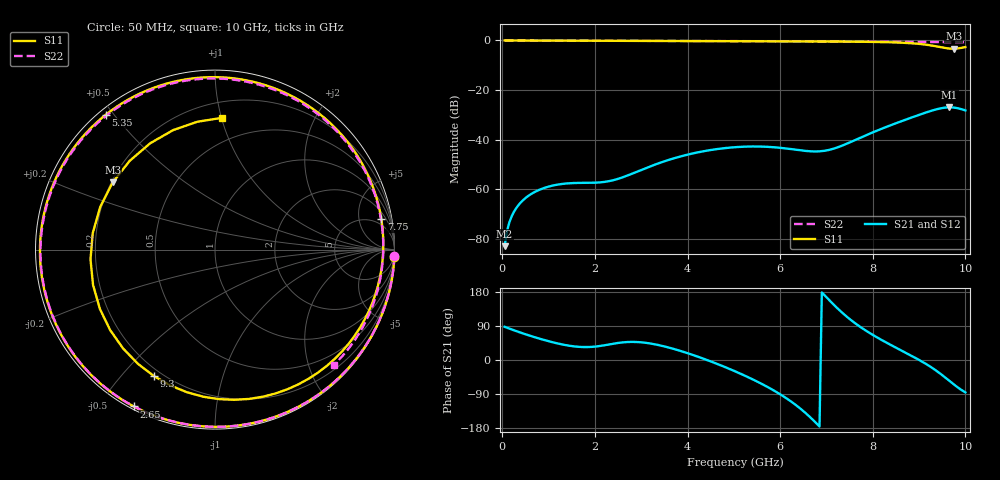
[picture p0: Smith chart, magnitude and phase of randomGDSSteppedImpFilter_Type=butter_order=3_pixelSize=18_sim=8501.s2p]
! freq	dB(S11)	phase(S11)	dB(S12)	phase(S12)
!  dB(S21)	phase(S21)	dB(S22)	phase(S22)
!S-par simulation data
#  GHz  S  DB  R 50
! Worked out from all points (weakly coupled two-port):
!   200 points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, 50 MHz to 10 GHz, reference 50 ohm
!   highest |S21| = -26.99 dB at 9.65 GHz (marker M1); lowest = -83.0 dB at 50 MHz (marker M2)
!   lowest |S11| = -3.3 dB at 9.75 GHz (marker M3), VSWR 5.29, Z = 10.3 + j14.4 ohm
!   |S11| at or under -10 dB: nowhere
!   |S22| runs from -0.7 to 0.0 dB; largest |S21 - S12| = 0
!   S11 on the Smith chart (normalised r, x): 50 MHz: 0, -49; 2.65 GHz: 0.01, -0.61; 5.35 GHz: 0.02, +0.48; 7.75 GHz: 3, +10; 9.3 GHz: 0.17, -0.61; 10 GHz: 0.31, +1.00
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0.05  -0.00 -2.3  -82.99 87.6  -82.99 87.6  -0.00 -2.0
0.25  -0.01 -11.7  -69.17 78.5  -69.17 78.5  -0.01 -10.2
0.55  -0.03 -25.6  -62.86 65.9  -62.86 65.9  -0.03 -22.2
1.05  -0.06 -48.4  -58.71 47.9  -58.71 47.9  -0.05 -42.0
1.75  -0.10 -79.3  -57.44 34.2  -57.44 34.2  -0.09 -68.9
2.65  -0.14 -117.4  -54.86 47.0  -54.86 47.0  -0.12 -102.2
3.4  -0.18 -148.2  -49.39 38.7  -49.39 38.7  -0.16 -129.0
4.25  -0.22 176.7  -45.03 7.6  -45.03 7.6  -0.21 -159.5
5.05  -0.27 142.5  -43.03 -31.1  -43.03 -31.1  -0.26 170.9
5.35  -0.29 129.1  -42.79 -47.8  -42.79 -47.8  -0.29 159.3
6.05  -0.34 96.7  -43.40 -94.3  -43.40 -94.3  -0.34 130.8
6.7  -0.38 65.0  -44.76 -157.1  -44.76 -157.1  -0.39 102.4
7.2  -0.43 39.7  -43.38 140.8  -43.38 140.8  -0.43 79.5
7.75  -0.52 10.4  -39.09 85.7  -39.09 85.7  -0.47 53.6
8.35  -0.72 -25.1  -34.46 42.3  -34.46 42.3  -0.51 25.4
8.95  -1.29 -72.1  -30.34 3.7  -30.34 3.7  -0.56 -1.5
9.3  -2.13 -115.8  -28.17 -22.2  -28.17 -22.2  -0.60 -16.4
9.5  -2.84 -152.8  -27.26 -40.0  -27.26 -40.0  -0.63 -24.6
9.65  -3.26 172.2  -26.99 -54.6  -26.99 -54.6  -0.65 -30.6
9.75  -3.33 146.7  -27.08 -64.4  -27.08 -64.4  -0.66 -34.6
9.9  -3.03 109.3  -27.64 -77.9  -27.64 -77.9  -0.68 -40.3
10  -2.68 87.1  -28.23 -85.5  -28.23 -85.5  -0.70 -44.0
